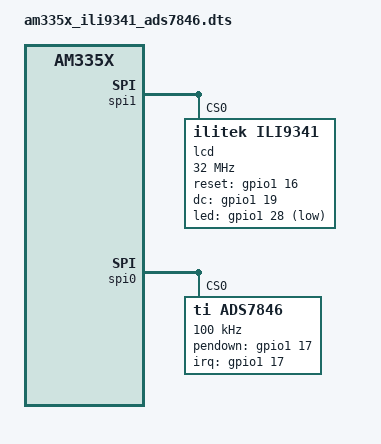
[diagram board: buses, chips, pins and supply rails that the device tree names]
/*
* ili9341, ads7846 driver's Device Tree 
*=======================================
* ili9341 Description
*=======================================
*   Type: touch panel
*   Size:2.8" SPI Serial
*   Display area:36.72(W)X48.96(H)mm
*   Size:8.5 x 4.8cm/
*   Driver element: a-Si TFT active matrix
*   Pixel arrangement: RGB vertical stripe
*   Driver IC: ILI9341
*   Backlight: White LED
*   Viewing Direction: 6 o'clock
*   Color Depth: 262K/65K
*   Resolution (dots): 240RGB*320Dots
*   5V compatible, use with 3.3V or 5V logic
*   Need at least 4 IOs from your MCU
*   With PCB plate (including power supply IC, SD), compatible with 5110 interface
* ---------------------------------------
* 		PinMap
* ---------------------------------------
* 	9341		BBB
* ---------------------------------------
*	SDO		SPI1_D0
* ---------------------------------------
*	LED		GPIO1_28
* ---------------------------------------
*	SCK		SPI1_SCLK
* ---------------------------------------
*	SDI		SPI1_D1
* ---------------------------------------
*	D/C		GPIO1_19
* ---------------------------------------
*	RESET		GPIO1_16
* ---------------------------------------
*	CS		SPI1_CS0
* ---------------------------------------
*	GND		GND	
* ---------------------------------------
*	VCC		VCC
* ---------------------------------------
*
*   Driver : https://github.com/notro/fbtft.git
*   Using Driver in Kernel inTree Device, No outTree Device
*   Makefile : obj += y
*   Kconfig: source "drivers/video/fbdev/fbtft/Kconfig"
*   modprobe fbtft_device name=mi0283qt-9a busnum=1 cs=0  gpios=reset:30,led:60 debug=1 verbose=3 speed=32000000
*
*=======================================
* ads7846 Description
*=======================================
* ---------------------------------------
* 		PinMap
* ---------------------------------------
* 	7846		BBB
* ---------------------------------------
*	T_IRG		GPIO1_17
* ---------------------------------------
*	T_DO		SPI0_D0
* ---------------------------------------
*	T_DIN		SPI0_D1
* ---------------------------------------
*	T_CS		SPI0_CS0
* ---------------------------------------
*	T_CLK		SPI0_SCLK
* ---------------------------------------
* 
* Driver : kernel ti-4.19.79-ti-rt-r30 has Already inTree Driver
*/


&am33xx_pinmux {
	/*
	  * ili9341 lcd driver enable
	  */
	spi1_pins_s1: spi1_pins_s1 {
		pinctrl-single,pins = <
			0x190 0x33 /* mcasp0_aclkx.spi1_sclk, INPUT_PULLUP | MODE3 */
			//0x194 0x33 /* mcasp0_fsx.spi1_d0, INPUT_PULLUP | MODE3 */
			0x198 0x13 /* mcasp0_axr0.spi1_d1, OUTPUT_PULLUP | MODE3 */
			0x19c 0x13 /* mcasp0_ahclkr.spi1_cs0, OUTPUT_PULLUP | MODE3 */
		>;
	};

	lcd_ctrl_pinmux: lcd_ctrl_pins {
		pinctrl-single,pins = <
			0x040 0x17  /* gpio1_16  OUTPUT_PULLUP | MODE7 */
			0x078 0x17  /* gpio1_28  OUTPUT_PULLUP | MODE7 */
			0x04C 0x17  /* gpio1_19  INPUT_PULLUP | MODE7 */
		>;
	};
	/*
	  *ads7846 touch driver enable
	  */
	ads7846_pins:pinmux_spi0_pins {
		pinctrl-single,pins = <
			0x150 0x30 /* spi0_sclk, INPUT_PULLUP | MODE0 */
			0x154 0x10 /* spi0_d0, OUTPUT_PULLUP | MODE0 */
			0x158 0x30 /* spi0_d1, INPUT_PULLUP | MODE0 */
			/* For ADS7846 */
			0x15c 0x10 /* spi0_cs0, OUTPUT_PULLUP | MODE0 */
		>;
	};
};


&spi1 {
	pinctrl-names = "default";
	pinctrl-0 = <&spi1_pins_s1>;
	status = "okay";
	lcd@0{
		compatible = "ilitek,ili9341";
		reg = <0>;

		pinctrl-names = "default";
		pinctrl-0 = <&lcd_ctrl_pinmux>;
		spi-max-frequency = <32000000>;
		reset-gpios = <&gpio1 16 0>;
		dc-gpios = <&gpio1 19 0>;
		led-gpios = <&gpio1 28 1>;

		buswidth = <8>;
		debug = <2>;
		bgr;
		rotate = <90>;
		status = "okay";
	};
};

&spi0 {
	#address-cells = <0x1>;
	#size-cells = <0>;
	status = "okay";
	pinctrl-names = "default";
	pinctrl-0 = <&ads7846_pins>;
	ti,pindir-d0-out-d1-in = <1>;

	ads7846@0 {
		compatible = "ti,ads7846";
		spi-max-frequency = <100000>;   /* Higher frequency causes more jitter */
		interrupts = <17 0>;             /* pin number 17 and falling edge interrupt */
		interrupt-parent = <&gpio1>;
		pendown-gpio = <&gpio1 17 0>;        /* This corresponds to pin no 23 = GPIO1[17]*/
		reg = <0>;     /* We are using chip select 0, so we enter 0 here */
		#addr-size = <2>;
		#page-size = <32>;

		/* driver defaults */
		ti,x-min = /bits/ 16 <0xB0>;
		ti,y-min = /bits/ 16 <0x231>;
		ti,x-max = /bits/ 16 <0xF49>;
		ti,y-max = /bits/ 16 <0xF6B>;
		ti,pressure-min = /bits/ 16 <0>;
		ti,pressure-max = /bits/ 16 <0xFF>;
		ti,x-plate-ohms = /bits/ 16 <0x96>;
		ti,swap_xy = /bits/ 16 <0>;
		ti,keep_vref_on = /bits/ 16 <0>;
		ti,cs = /bits/ 16 <1>;
		linux,wakeup;
	};
};
